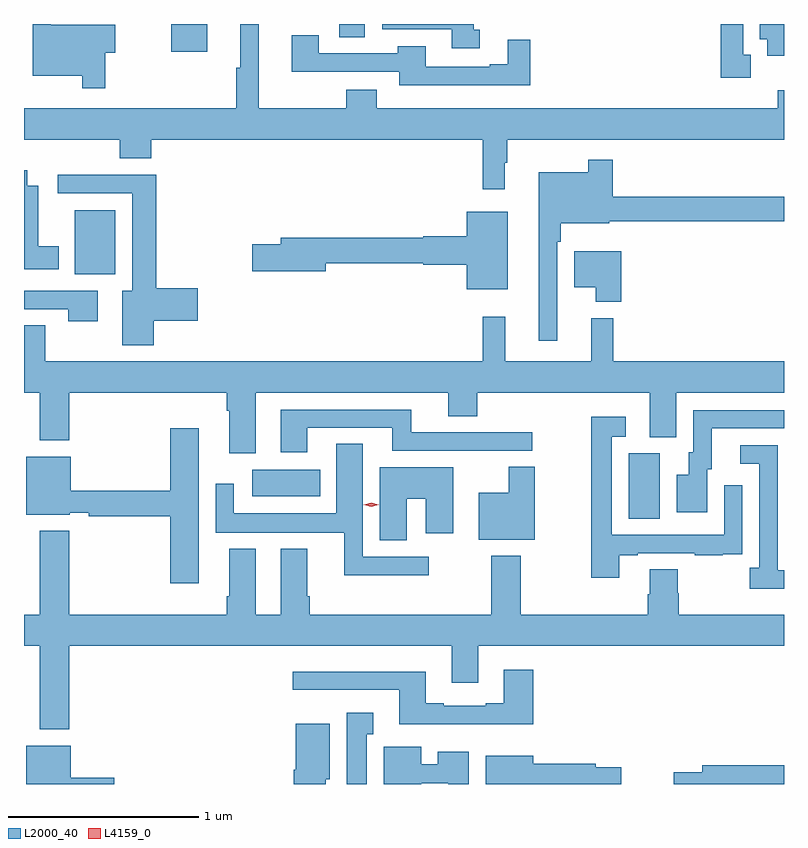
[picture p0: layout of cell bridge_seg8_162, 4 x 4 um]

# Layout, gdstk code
import gdstk
lib = gdstk.Library(unit=1e-6, precision=1e-09)
def R(c, l, rs):  # rectangles x0, y0, x1, y1
    for r in rs: c.add(gdstk.rectangle(r[:2], r[2:], *l))
def P(c, l, *ps):  # polygons
    for p in ps: c.add(gdstk.Polygon(p, *l))
L2000_40 = (2000, 40)
L4159_0 = (4159, 0)

bridge_seg8_162 = lib.new_cell('bridge_seg8_162')
R(bridge_seg8_162, L2000_40, [(531.62,1151.8,531.784,1152.144), (529.638,1151.918,529.996,1152.058), (528.704,1153.088,528.916,1153.423), (529.213,1154.258,529.402,1154.404), (530.096,1154.335,530.23,1154.404)])
P(bridge_seg8_162, L2000_40, [(532.437,1154.404),(532.31,1154.404),(532.31,1154.324),(532.349,1154.324),(532.349,1154.237),(532.437,1154.237)],
  [(528.865,1154.254),(528.916,1154.254),(528.916,1154.401),(528.579,1154.401),(528.579,1154.404),(528.482,1154.404),(528.482,1154.132),(528.744,1154.132),(528.744,1154.067),(528.865,1154.067)],
  [(532.261,1154.241),(532.222,1154.241),(532.222,1154.404),(532.104,1154.404),(532.104,1154.121),(532.261,1154.121)],
  [(530.968,1153.673),(530.98,1153.673),(530.98,1153.796),(532.437,1153.796),(532.437,1154.056),(532.403,1154.056),(532.403,1153.96),(530.294,1153.96),(530.294,1154.059),(530.134,1154.059),(530.134,1153.96),(529.672,1153.96),(529.672,1154.404),(529.574,1154.404),(529.574,1154.175),(529.555,1154.175),(529.555,1153.96),(528.437,1153.96),(528.437,1153.796),(528.941,1153.796),(528.941,1153.697),(529.106,1153.697),(529.106,1153.796),(530.851,1153.796),(530.851,1153.533),(530.968,1153.533)],
  [(530.836,1154.375),(530.804,1154.375),(530.804,1154.404),(530.322,1154.404),(530.322,1154.376),(530.687,1154.376),(530.687,1154.277),(530.836,1154.277)],
  [(531.101,1154.32),(530.984,1154.32),(530.984,1154.191),(530.888,1154.191),(530.888,1154.178),(530.551,1154.178),(530.551,1154.287),(530.404,1154.287),(530.404,1154.25),(529.987,1154.25),(529.987,1154.344),(529.847,1154.344),(529.847,1154.154),(530.411,1154.154),(530.411,1154.082),(531.101,1154.082)],
  [(531.243,1153.259),(531.263,1153.259),(531.263,1153.355),(531.517,1153.355),(531.517,1153.366),(532.437,1153.366),(532.437,1153.495),(531.536,1153.495),(531.536,1153.69),(531.408,1153.69),(531.408,1153.624),(531.146,1153.624),(531.146,1152.738),(531.243,1152.738)],
  [(528.619,1153.234),(528.511,1153.234),(528.511,1153.552),(528.454,1153.552),(528.454,1153.633),(528.437,1153.633),(528.437,1153.112),(528.619,1153.112)],
  [(529.12,1152.842),(529.351,1152.842),(529.351,1153.013),(529.133,1153.013),(529.133,1153.61),(528.615,1153.61),(528.615,1153.512),(529.007,1153.512),(529.007,1153),(528.953,1153),(528.953,1152.714),(529.12,1152.714)],
  [(530.983,1153.417),(530.768,1153.417),(530.768,1153.288),(530.538,1153.288),(530.538,1153.28),(529.787,1153.28),(529.787,1153.244),(529.638,1153.244),(529.638,1153.102),(530.026,1153.102),(530.026,1153.144),(530.538,1153.144),(530.538,1153.136),(530.768,1153.136),(530.768,1153.007),(530.983,1153.007)],
  [(531.581,1153.207),(531.332,1153.207),(531.332,1153.019),(531.446,1153.019),(531.446,1152.941),(531.581,1152.941)],
  [(528.826,1152.999),(528.437,1152.999),(528.437,1152.903),(528.67,1152.903),(528.67,1152.84),(528.826,1152.84)],
  [(529.657,1152.464),(530.669,1152.464),(530.669,1152.34),(530.822,1152.34),(530.822,1152.464),(531.731,1152.464),(531.731,1152.229),(531.871,1152.229),(531.871,1152.464),(532.437,1152.464),(532.437,1152.628),(531.539,1152.628),(531.539,1152.856),(531.422,1152.856),(531.422,1152.628),(530.969,1152.628),(530.969,1152.862),(530.851,1152.862),(530.851,1152.628),(528.549,1152.628),(528.549,1152.818),(528.437,1152.818),(528.437,1152.464),(528.521,1152.464),(528.521,1152.212),(528.674,1152.212),(528.674,1152.464),(529.505,1152.464),(529.505,1152.368),(529.517,1152.368),(529.517,1152.144),(529.657,1152.144)],
  [(529.927,1152.279),(530.375,1152.279),(530.375,1152.159),(531.112,1152.159),(531.112,1152.255),(530.474,1152.255),(530.474,1152.375),(529.787,1152.375),(529.787,1152.15),(529.927,1152.15)],
  [(532.033,1152.06),(532.057,1152.06),(532.057,1152.276),(532.437,1152.276),(532.437,1152.372),(531.96,1152.372),(531.96,1152.15),(531.935,1152.15),(531.935,1152.031),(531.872,1152.031),(531.872,1151.835),(532.033,1151.835)],
  [(531.571,1151.607),(531.667,1151.607),(531.667,1151.619),(531.967,1151.619),(531.967,1151.607),(532.115,1151.607),(532.115,1151.613),(532.217,1151.613),(532.217,1151.722),(532.218,1151.722),(532.218,1151.977),(532.122,1151.977),(532.122,1151.715),(531.531,1151.715),(531.531,1152.231),(531.604,1152.231),(531.604,1152.337),(531.423,1152.337),(531.423,1151.49),(531.571,1151.49)],
  [(529.357,1152.277),(529.208,1152.277),(529.208,1151.948),(528.682,1151.948),(528.682,1152.127),(528.449,1152.127),(528.449,1151.822),(528.678,1151.822),(528.678,1151.832),(528.778,1151.832),(528.778,1151.812),(529.208,1151.812),(529.208,1151.46),(529.357,1151.46)],
  [(530.566,1151.601),(530.221,1151.601),(530.221,1152.194),(530.081,1152.194),(530.081,1151.83),(529.542,1151.83),(529.542,1151.983),(529.446,1151.983),(529.446,1151.726),(530.123,1151.726),(530.123,1151.504),(530.566,1151.504)],
  [(532.437,1151.529),(532.405,1151.529),(532.405,1151.729),(532.404,1151.729),(532.404,1152.186),(532.206,1152.186),(532.206,1152.09),(532.308,1152.09),(532.308,1151.542),(532.257,1151.542),(532.257,1151.432),(532.437,1151.432)],
  [(531.126,1152.074),(530.989,1152.074),(530.989,1151.938),(530.831,1151.938),(530.831,1151.69),(531.126,1151.69)],
  [(530.452,1151.905),(530.552,1151.905),(530.552,1151.724),(530.695,1151.724),(530.695,1152.07),(530.309,1152.07),(530.309,1151.686),(530.452,1151.686)],
  [(528.674,1151.132),(530.687,1151.132),(530.687,1150.938),(530.827,1150.938),(530.827,1151.132),(532.437,1151.132),(532.437,1151.296),(531.884,1151.296),(531.884,1151.409),(531.879,1151.409),(531.879,1151.534),(531.731,1151.534),(531.731,1151.402),(531.719,1151.402),(531.719,1151.296),(531.051,1151.296),(531.051,1151.605),(530.896,1151.605),(530.896,1151.296),(529.94,1151.296),(529.94,1151.392),(529.927,1151.392),(529.927,1151.641),(529.787,1151.641),(529.787,1151.296),(529.657,1151.296),(529.657,1151.641),(529.517,1151.641),(529.517,1151.392),(529.505,1151.392),(529.505,1151.296),(528.674,1151.296),(528.674,1151.737),(528.521,1151.737),(528.521,1151.296),(528.437,1151.296),(528.437,1151.132),(528.521,1151.132),(528.521,1150.691),(528.674,1150.691)],
  [(531.116,1151.005),(530.963,1151.005),(530.963,1150.828),(530.867,1150.828),(530.867,1150.815),(530.647,1150.815),(530.647,1150.828),(530.551,1150.828),(530.551,1150.996),(529.851,1150.996),(529.851,1150.899),(530.411,1150.899),(530.411,1150.718),(531.116,1150.718)],
  [(530.242,1150.667),(530.275,1150.667),(530.275,1150.78),(530.135,1150.78),(530.135,1150.404),(530.242,1150.404)],
  [(530.026,1150.428),(530.047,1150.428),(530.047,1150.72),(529.868,1150.72),(529.868,1150.48),(529.856,1150.48),(529.856,1150.404),(530.026,1150.404)],
  [(528.913,1150.436),(528.682,1150.436),(528.682,1150.606),(528.449,1150.606),(528.449,1150.404),(528.913,1150.404)],
  [(530.527,1150.409),(530.669,1150.409),(530.669,1150.404),(530.779,1150.404),(530.779,1150.573),(530.615,1150.573),(530.615,1150.508),(530.527,1150.508),(530.527,1150.6),(530.33,1150.6),(530.33,1150.404),(530.527,1150.404)],
  [(531.58,1150.491),(531.446,1150.491),(531.446,1150.511),(531.118,1150.511),(531.118,1150.552),(530.867,1150.552),(530.867,1150.404),(531.58,1150.404)],
  [(532.437,1150.502),(532.007,1150.502),(532.007,1150.466),(531.858,1150.466),(531.858,1150.404),(532.437,1150.404)])
P(bridge_seg8_162, L4159_0, [(530.265,1151.864),(530.224,1151.873),(530.224,1151.873),(530.224,1151.874),(530.264,1151.883),(530.305,1151.874),(530.305,1151.874),(530.305,1151.873)])

lib.write_gds('bridge_seg8_162.gds')
